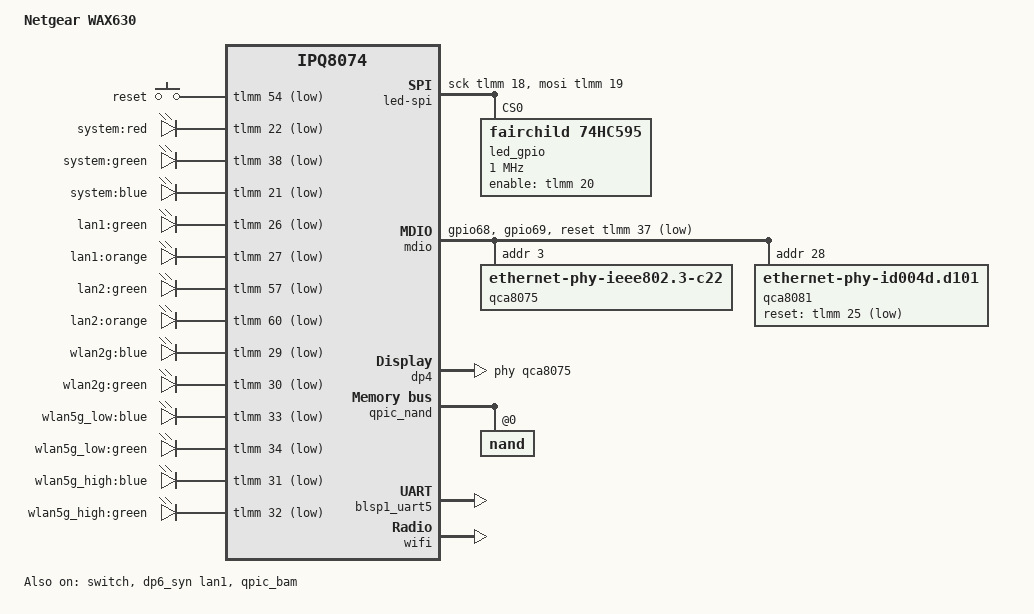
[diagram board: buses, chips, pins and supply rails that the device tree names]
// SPDX-License-Identifier: GPL-2.0-or-later OR MIT

/dts-v1/;

#include "ipq8074.dtsi"
#include "ipq8074-hk-cpu.dtsi"
#include "ipq8074-ess.dtsi"
#include "ipq8074-nss.dtsi"
#include <dt-bindings/input/input.h>
#include <dt-bindings/gpio/gpio.h>
#include <dt-bindings/leds/common.h>

/ {
	model = "Netgear WAX630";
	compatible = "netgear,wax630", "qcom,ipq8074";

	aliases {
		serial0 = &blsp1_uart5;
		
		ethernet0 = &dp6_syn;
		ethernet1 = &dp4;
		label-mac-device = &dp6_syn;

		led-boot = &led_system_blue;
		led-failsafe = &led_system_red;
		led-running = &led_system_green;
		led-upgrade = &led_system_blue;
	};

	chosen {
		stdout-path = "serial0:115200n8";
		bootargs-append = " root=/dev/ubiblock0_1";
	};

	keys {
		compatible = "gpio-keys";

		reset {
			label = "reset";
			gpios = <&tlmm 54 GPIO_ACTIVE_LOW>;
			linux,code = <KEY_RESTART>;
		};
	};

	led-spi {
		compatible = "spi-gpio";
		#address-cells = <1>;
		#size-cells = <0>;

		sck-gpios = <&tlmm 18 GPIO_ACTIVE_HIGH>;
		mosi-gpios = <&tlmm 19 GPIO_ACTIVE_HIGH>;

		led_gpio: led-gpio@0 {
			compatible = "fairchild,74hc595";
			reg = <0>;
			gpio-controller;
			#gpio-cells = <2>;
			registers-number = <1>;
			enable-gpios = <&tlmm 20 GPIO_ACTIVE_HIGH>;
			spi-max-frequency = <1000000>;
		};
	};

	leds {
		compatible = "gpio-leds";

		led_system_red: system-red {
			label = "system:red";
			gpios = <&tlmm 22 GPIO_ACTIVE_LOW>;
			default-state = "off";
		};

		led_system_green: system-green {
			label = "system:green";
			gpios = <&tlmm 38 GPIO_ACTIVE_LOW>;
			default-state = "off";
		};

		led_system_blue: system-blue {
			label = "system:blue";
			gpios = <&tlmm 21 GPIO_ACTIVE_LOW>;
			default-state = "off";
		};

		lan1-green {
			label = "lan1:green";
			gpios = <&tlmm 26 GPIO_ACTIVE_LOW>;
			default-state = "off";
		};

		lan1-orange {
			label = "lan1:orange";
			gpios = <&tlmm 27 GPIO_ACTIVE_LOW>;
			default-state = "off";
		};

		lan2-green {
			label = "lan2:green";
			gpios = <&tlmm 57 GPIO_ACTIVE_LOW>;
			default-state = "off";
		};

		lan2-orange {
			label = "lan2:orange";
			gpios = <&tlmm 60 GPIO_ACTIVE_LOW>;
			default-state = "off";
		};

		2g-blue {
			label = "wlan2g:blue";
			gpios = <&tlmm 29 GPIO_ACTIVE_LOW>;
			default-state = "off";
		};

		2g-green {
			label = "wlan2g:green";
			gpios = <&tlmm 30 GPIO_ACTIVE_LOW>;
			default-state = "off";
		};

		5g-low-blue {
			label = "wlan5g_low:blue";
			gpios = <&tlmm 33 GPIO_ACTIVE_LOW>;
			default-state = "off";
		};

		5g-low-green {
			label = "wlan5g_low:green";
			gpios = <&tlmm 34 GPIO_ACTIVE_LOW>;
			default-state = "off";
		};

		5g-high-blue {
			label = "wlan5g_high:blue";
			gpios = <&tlmm 31 GPIO_ACTIVE_LOW>;
			default-state = "off";
		};

		5g-high-green {
			label = "wlan5g_high:green";
			gpios = <&tlmm 32 GPIO_ACTIVE_LOW>;
			default-state = "off";
		};
	};
};

&edma {
	status = "okay";
};

&switch {
	status = "okay";

	switch_cpu_bmp = <0x01>;	
	switch_lan_bmp = <0x3e>;
	switch_wan_bmp = <0x40>;
	switch_mac_mode = <0x00>;
	switch_mac_mode1 = <0xff>;
	switch_mac_mode2 = <0x0d>;
	bm_tick_mode = <0x00>;
	tm_tick_mode = <0x00>;

	qcom,port_phyinfo {
		port@3 {
			port_id = <4>;
			phy_address = <3>;
		};

		port@5 {
			port_id = <6>;
			phy_address = <28>;
			port_mac_sel = "QGMAC_PORT";
		};
	};
};

&tlmm {
	mdio_pins: mdio-pins {
		mdc {
			pins = "gpio68";
			function = "mdc";
			drive-strength = <8>;
			bias-pull-up;
		};

		mdio {
			pins = "gpio69";
			function = "mdio";
			drive-strength = <8>;
			bias-pull-up;
		};
	};
};

&mdio {
	status = "okay";

	pinctrl-0 = <&mdio_pins>;
	pinctrl-names = "default";
	reset-gpios = <&tlmm 37 GPIO_ACTIVE_LOW>;

	qca8075: ethernet-phy@3 {
		compatible = "ethernet-phy-ieee802.3-c22";
		reg = <3>;
	};

	qca8081: ethernet-phy@28 {
		compatible = "ethernet-phy-id004d.d101";
		reg = <28>;
		reset-gpios = <&tlmm 25 GPIO_ACTIVE_LOW>;
	};
};

&dp4 {
	status = "okay";
	phy-handle = <&qca8075>;
	label = "lan2";
};

&dp6_syn {
	status = "okay";
	phy-handle = <&qca8081>;
	label = "lan1";
};

&qpic_bam {
	status = "okay";
};

&qpic_nand {
	status = "okay";

	nand@0 {
		reg = <0>;
		nand-ecc-strength = <4>;
		nand-ecc-step-size = <512>;
		nand-bus-width = <8>;

		partitions {
			compatible = "qcom,smem-part";
		};
	};
};

&blsp1_uart5 {
	status = "okay";
};

&wifi {
	status = "okay";

	qcom,ath11k-calibration-variant = "Netgear-WAX630";
};
